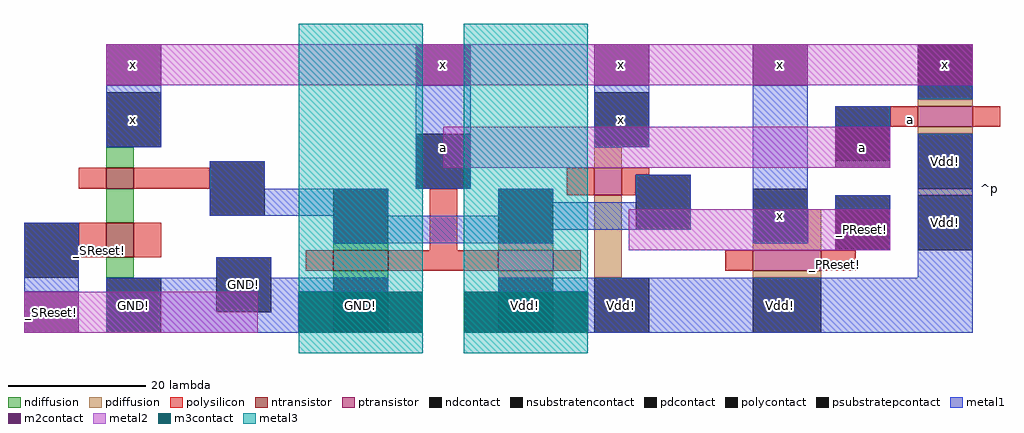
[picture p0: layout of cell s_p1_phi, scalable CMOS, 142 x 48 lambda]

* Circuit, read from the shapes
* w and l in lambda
.subckt s_p1_phi GND! Vdd! _PReset! _SReset! a x
M1 n1 _SReset! GND! GND! nfet w=4 l=5
M2 x n2 n1 GND! nfet w=4 l=3
M3 n2 x GND! GND! nfet w=8 l=3
M4 n2 x Vdd! Vdd! pfet w=8 l=3
M5 x n2 Vdd! Vdd! pfet w=4 l=4
M6 x _PReset! Vdd! Vdd! pfet w=10 l=3
M7 x a Vdd! Vdd! pfet w=8 l=3
.ends

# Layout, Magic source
magic
tech scmos
<< ndiffusion >>
rect -49 49 -45 52
rect -49 41 -45 46
rect -16 37 -8 38
rect -49 33 -45 36
rect -16 33 -8 34
<< pdiffusion >>
rect 69 58 77 59
rect 22 49 26 52
rect 69 54 77 55
rect 8 37 16 38
rect 8 33 16 34
rect 22 33 26 45
rect 69 45 77 46
rect 53 38 55 43
rect 45 37 55 38
rect 45 33 55 34
<< ntransistor >>
rect -49 46 -45 49
rect -49 36 -45 41
rect -16 34 -8 37
<< ptransistor >>
rect 69 55 77 58
rect 22 45 26 49
rect 8 34 16 37
rect 45 34 55 37
<< polysilicon >>
rect -53 46 -49 49
rect -45 46 -34 49
rect 65 55 69 58
rect 77 55 81 58
rect -53 36 -49 41
rect -45 36 -41 41
rect -2 37 2 46
rect 18 45 22 49
rect 26 48 30 49
rect 26 45 28 48
rect -20 34 -16 37
rect -8 34 8 37
rect 16 34 20 37
rect 41 34 45 37
rect 55 34 60 37
<< ndcontact >>
rect -49 52 -41 60
rect -16 38 -8 46
rect -49 25 -41 33
rect -16 25 -8 33
<< pdcontact >>
rect 22 52 30 60
rect 69 59 77 67
rect 8 38 16 46
rect 8 25 16 33
rect 69 46 77 54
rect 45 38 53 46
rect 22 25 30 33
rect 45 25 55 33
<< psubstratepcontact >>
rect -33 28 -25 36
<< nsubstratencontact >>
rect 69 37 77 45
<< polycontact >>
rect -34 42 -26 50
rect -4 46 4 54
rect 57 50 65 58
rect -61 33 -53 41
rect 28 40 36 48
rect 57 37 65 45
<< metal1 >>
rect -49 52 -41 61
rect -34 46 -26 50
rect -4 46 4 61
rect 22 52 30 61
rect -34 42 -8 46
rect 8 44 16 46
rect 28 44 36 48
rect 8 42 36 44
rect -61 31 -53 41
rect -16 40 36 42
rect -16 38 16 40
rect 45 38 53 61
rect 69 59 77 61
rect 57 55 65 58
rect 57 43 65 45
rect -33 33 -25 36
rect 69 33 77 54
rect -49 31 -8 33
rect 8 31 77 33
rect -49 25 -21 31
rect 21 25 77 31
<< m2contact >>
rect -49 61 -41 67
rect -4 61 4 67
rect 22 61 30 67
rect 45 61 53 67
rect 69 61 77 67
rect 57 49 65 55
rect 57 37 65 43
rect -61 25 -53 31
rect -21 25 -3 31
rect 3 25 21 31
<< metal2 >>
rect -49 61 77 67
rect 0 49 65 55
rect 27 37 65 43
rect -61 25 -27 31
<< m3contact >>
rect -21 25 -3 31
rect 3 25 21 31
<< metal3 >>
rect -21 22 -3 70
rect 3 22 21 70
<< labels >>
rlabel ndcontact -12 29 -12 29 1 GND!
rlabel pdcontact 12 29 12 29 1 Vdd!
rlabel pdcontact 26 29 26 29 1 Vdd!
rlabel polysilicon -50 37 -50 37 1 _SReset!
rlabel metal1 -45 29 -45 29 1 GND!
rlabel metal1 -45 56 -45 56 1 x
rlabel metal1 26 56 26 56 1 x
rlabel metal2 0 49 0 55 3 a
rlabel metal1 -29 32 -29 32 1 GND!
rlabel metal2 -57 28 -57 28 3 _SReset!
rlabel metal1 49 42 49 42 1 x
rlabel pdcontact 49 29 49 29 8 Vdd!
rlabel space 77 25 82 67 3 ^p
rlabel polysilicon 57 35 57 35 7 _PReset!
rlabel metal2 61 40 61 40 1 _PReset!
rlabel polysilicon 68 56 68 56 3 a
rlabel metal1 73 50 73 50 1 Vdd!
rlabel metal1 73 41 73 41 1 Vdd!
rlabel metal2 0 61 0 67 1 x
rlabel metal2 -45 64 -45 64 1 x
rlabel metal2 26 64 26 64 1 x
rlabel metal2 49 64 49 64 1 x
rlabel metal2 73 64 73 64 1 x
rlabel metal2 61 52 61 52 1 a
<< end >>
